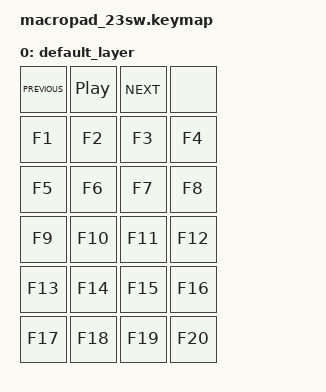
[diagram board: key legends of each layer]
#include <behaviors.dtsi>
#include <dt-bindings/zmk/keys.h>

 / {
     keymap {
         compatible = "zmk,keymap";

         default_layer {
             bindings = <
                 &kp C_PREVIOUS    &kp C_PLAY_PAUSE &kp C_NEXT     &none
                 &kp F1            &kp F2           &kp F3         &kp F4
                 &kp F5            &kp F6           &kp F7         &kp F8
                 &kp F9            &kp F10          &kp F11        &kp F12
                 &kp F13           &kp F14          &kp F15        &kp F16
                 &kp F17           &kp F18          &kp F19        &kp F20
             >;
         };
     };
 };
